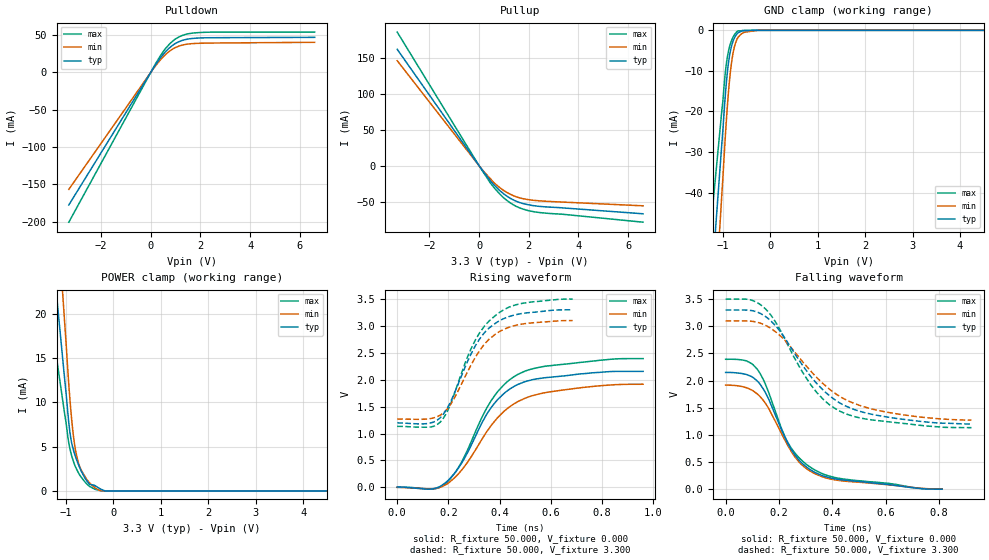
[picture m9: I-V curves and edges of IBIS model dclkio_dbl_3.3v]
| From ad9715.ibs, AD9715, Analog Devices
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[Model]   dclkio_dbl_3.3v
Model_type I/O
Vinl=9.900E-01
Vinh=2.310E+00
Vref=0.000E+00
Rref=1.000E+06
Cref=0.000E+00
Vmeas=1.650E+00
C_comp   6.290E-13   6.240E-13   6.330E-13
[Voltage Range]   3.300E+00   3.100E+00   3.500E+00
[POWER Clamp Reference]   3.300E+00   3.100E+00   3.500E+00
[GND Clamp Reference]   0.000E+00   0.000E+00   0.000E+00
[Pullup Reference]   3.300E+00   3.100E+00   3.500E+00
[Pulldown Reference]   0.000E+00   0.000E+00   0.000E+00
[Temperature Range]   25   85   -40
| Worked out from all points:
|   slope of the pulldown table from 0 to 0.495 V, typ, clamps not added: 20.8 ohm
|   slope of the pullup table from 0 to 0.495 V, typ, clamps not added: 21.9 ohm
|   GND clamp passes 1 mA (typ) near -0.71 V on its own axis
|   POWER clamp passes 1 mA (typ) near -0.54 V on its own axis
|   rising waveform, R_fixture 50.000, V_fixture 0.000: 20-80 % time 163ps typ, 188ps min, 166ps max; typ from 0.006 V to 2.16 V
|   falling waveform, R_fixture 50.000, V_fixture 0.000: 20-80 % time 143ps typ, 146ps min, 147ps max; typ from 2.15 V to 0 V
|   rising waveform, R_fixture 50.000, V_fixture 3.300: 20-80 % time 131ps typ, 135ps min, 133ps max; typ from 1.2 V to 3.3 V
|   falling waveform, R_fixture 50.000, V_fixture 3.300: 20-80 % time 210ps typ, 231ps min, 183ps max; typ from 3.3 V to 1.2 V
[GND Clamp]
-3.3V     -390.6mA   -477.5mA   -300.4mA
-1.02V    -27.89mA   -40.38mA   -19.75mA
-960mV    -18.06mA   -28.71mA   -12mA
-920mV    -12.28mA   -21.4mA    -7.817mA
-880mV    -7.982mA   -15.2mA    -5.102mA
-840mV    -5.113mA   -10.28mA   -3.318mA
-800mV    -3.257mA   -6.712mA   -2.097mA
-760mV    -2.012mA   -4.276mA   -1.196mA
-680mV    -622.5uA   -1.743mA   -147.5uA
-540mV    -62.48uA   -470.9uA   -6.432uA
-260mV    0A         0A         0A
6.6V      0A         0A         0A
[Power Clamp]
-3.3V     139mA      199.2mA    92.63mA
-1.02V    12.14mA    18.31mA    8.379mA
-960mV    8.692mA    13.45mA    6.042mA
-920mV    6.691mA    10.48mA    4.805mA
-860mV    4.95mA     6.955mA    3.597mA
-800mV    3.852mA    4.59mA     2.71mA
-740mV    2.994mA    3.209mA    2.064mA
-680mV    2.233mA    2.348mA    1.551mA
-520mV    845.9uA    1.009mA    581.8uA
-400mV    629.8uA    401.2uA    211.6uA
-180mV    0A         0A         0A
6.6V      0A         0A         0A
[Pullup]
-3.3V     162.2mA    146.4mA    186.2mA
160mV     -7.565mA   -6.777mA   -8.674mA
580mV     -25.85mA   -22.96mA   -29.49mA
1.04V     -40.31mA   -35.48mA   -46.08mA
1.52V     -49.68mA   -43.45mA   -56.91mA
1.94V     -53.89mA   -46.88mA   -61.97mA
2.26V     -55.79mA   -48.24mA   -64.21mA
6.6V      -66.76mA   -55.67mA   -78.46mA
[Pulldown]
-3.3V     -177.6mA   -156.7mA   -200.7mA
180mV     9.455mA    8.245mA    10.89mA
580mV     27.11mA    23.56mA    31.32mA
940mV     37.64mA    32.34mA    43.42mA
1.14V     41.17mA    35.24mA    47.53mA
1.38V     43.81mA    37.33mA    50.65mA
1.92V     46mA       38.94mA    53.29mA
6.6V      46.93mA    40.27mA    53.96mA
[Rising Waveform]
R_fixture = 50.000
V_fixture = 0.000
V_fixture_min = 0.000
V_fixture_max = 0.000
|  time   V(typ)   V(min)   V(max)
0s        6.28mV     0V         0V
132.5ps   -31.88mV   -27.33mV   -32.45mV
195ps     112.1mV    63.75mV    98.09mV
252.5ps   457.5mV    325.5mV    480.7mV
330ps     1.193V     888.5mV    1.294V
367.5ps   1.487V     1.153V     1.616V
417.5ps   1.747V     1.415V     1.91V
470ps     1.91V      1.591V     2.097V
607.5ps   2.052V     1.783V     2.267V
960ps     2.156V     1.917V     2.393V
[Falling Waveform]
R_fixture = 50.000
V_fixture = 0.000
V_fixture_min = 0.000
V_fixture_max = 0.000
|  time   V(typ)   V(min)   V(max)
0s        2.15V      1.917V     2.393V
77.5ps    2.113V     1.87V      2.364V
117.5ps   2V         1.76V      2.217V
157.5ps   1.7V       1.521V     1.835V
207.5ps   1.122V     1.049V     1.145V
235ps     828.9mV    790.5mV    847mV
275ps     537.8mV    504.1mV    582.3mV
327.5ps   330mV      304.8mV    374.7mV
427.5ps   176.1mV    158.5mV    198.7mV
812.5ps   0V         0V         0V
[Rising Waveform]
R_fixture = 50.000
V_fixture = 3.300
V_fixture_min = 3.100
V_fixture_max = 3.500
|  time   V(typ)   V(min)   V(max)
0s        1.198V     1.271V     1.133V
115ps     1.184V     1.27V      1.118V
172.5ps   1.315V     1.355V     1.235V
217.5ps   1.685V     1.611V     1.664V
267.5ps   2.262V     2.082V     2.34V
302.5ps   2.609V     2.396V     2.714V
345ps     2.898V     2.685V     3.021V
392.5ps   3.078V     2.876V     3.228V
492.5ps   3.235V     3.039V     3.424V
685ps     3.3V       3.1V       3.5V
[Falling Waveform]
R_fixture = 50.000
V_fixture = 3.300
V_fixture_min = 3.100
V_fixture_max = 3.500
|  time   V(typ)   V(min)   V(max)
0s        3.3V       3.1V       3.5V
95ps      3.292V     3.094V     3.485V
150ps     3.179V     3.017V     3.319V
190ps     2.996V     2.89V      3.06V
222.5ps   2.783V     2.742V     2.763V
317.5ps   2.089V     2.187V     1.938V
370ps     1.806V     1.925V     1.638V
422.5ps   1.605V     1.726V     1.452V
597.5ps   1.336V     1.426V     1.248V
922.5ps   1.198V     1.271V     1.133V
[Ramp]
dV/dt_r   1.2900E+00/1.6270E-10   1.1419E+00/1.8804E-10   1.4322E+00/1.6610E-10
dV/dt_f   1.2615E+00/2.0954E-10   1.0975E+00/2.3140E-10   1.4202E+00/1.8300E-10
R_load = 50
